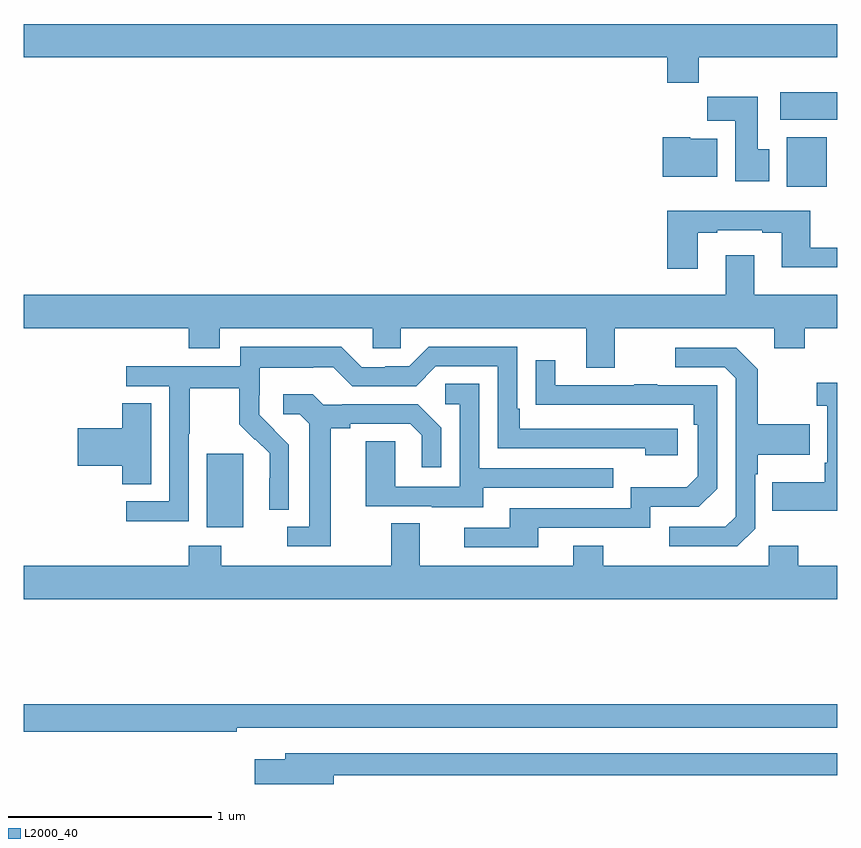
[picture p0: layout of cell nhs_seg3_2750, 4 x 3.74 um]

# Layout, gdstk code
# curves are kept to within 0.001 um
import gdstk
lib = gdstk.Library(unit=1e-6, precision=1e-09)
def R(c, l, rs):  # rectangles x0, y0, x1, y1
    for r in rs: c.add(gdstk.rectangle(r[:2], r[2:], *l))
def P(c, l, *ps):  # polygons
    for p in ps: c.add(gdstk.Polygon(p, *l))
L2000_40 = (2000, 40)

nhs_seg3_2750 = lib.new_cell('nhs_seg3_2750')
R(nhs_seg3_2750, L2000_40, [(253.901,715.922,254.08,716.283), (256.751,717.596,256.948,717.838), (256.719,717.926,257,718.06)])
P(nhs_seg3_2750, L2000_40, [(256.319,718.232),(257,718.232),(257,718.396),(253,718.396),(253,718.232),(256.163,718.232),(256.163,718.108),(256.319,718.108)],
  [(256.666,717.78),(256.609,717.78),(256.609,718.039),(256.36,718.039),(256.36,717.92),(256.499,717.92),(256.499,717.624),(256.666,717.624)],
  [(256.411,717.832),(256.278,717.832),(256.278,717.838),(256.142,717.838),(256.142,717.644),(256.411,717.644)],
  [(256.315,717.369),(256.411,717.369),(256.411,717.381),(256.631,717.381),(256.631,717.369),(256.727,717.369),(256.727,717.2),(257,717.2),(257,717.297),(256.867,717.297),(256.867,717.478),(256.163,717.478),(256.163,717.192),(256.315,717.192)],
  [(255.907,716.9),(256.691,716.9),(256.691,716.801),(256.839,716.801),(256.839,716.9),(257,716.9),(257,717.064),(256.591,717.064),(256.591,717.259),(256.451,717.259),(256.451,717.064),(253,717.064),(253,716.9),(253.811,716.9),(253.811,716.801),(253.963,716.801),(253.963,716.9),(254.715,716.9),(254.715,716.802),(254.853,716.802),(254.853,716.9),(255.767,716.9),(255.767,716.706),(255.907,716.706)],
  [(253.812,716.38),(253.815,716.38),(253.815,716.604),(254.059,716.604),(254.059,716.429),(254.136,716.352),(254.139,716.355),(254.21,716.285),(254.21,716.162),(254.208,716.162),(254.208,716.008),(254.304,716.008),(254.304,716.326),(254.158,716.474),(254.158,716.571),(254.16,716.571),(254.16,716.705),(254.423,716.705),(254.423,716.709),(254.523,716.709),(254.616,716.616),(254.931,716.616),(255.027,716.712),(255.33,716.712),(255.33,716.31),(256.055,716.31),(256.055,716.276),(256.216,716.276),(256.216,716.406),(255.439,716.406),(255.439,716.503),(255.426,716.503),(255.426,716.808),(254.991,716.808),(254.895,716.712),(254.777,716.712),(254.777,716.709),(254.661,716.709),(254.561,716.809),(254.064,716.809),(254.064,716.712),(253.503,716.712),(253.503,716.616),(253.716,716.616),(253.716,716.049),(253.503,716.049),(253.503,715.951),(253.812,715.951)],
  [(256.596,715.914),(256.596,716.183),(256.609,716.183),(256.609,716.279),(256.865,716.279),(256.865,716.427),(256.609,716.427),(256.609,716.699),(256.503,716.805),(256.203,716.805),(256.203,716.709),(256.446,716.709),(256.5,716.655),(256.5,715.974),(256.449,715.923),(256.173,715.923),(256.173,715.827),(256.509,715.827)],
  [(255.529,715.92),(256.08,715.92),(256.08,716.022),(256.32,716.022),(256.41,716.112),(256.41,716.619),(256.115,716.619),(256.115,716.624),(256.003,716.624),(256.003,716.619),(255.613,716.619),(255.613,716.743),(255.517,716.743),(255.517,716.524),(256.294,716.523),(256.294,716.426),(256.314,716.426),(256.314,716.172),(256.261,716.119),(255.984,716.119),(255.984,716.016),(255.389,716.016),(255.389,715.92),(255.165,715.92),(255.165,715.824),(255.529,715.824)],
  [(257,716.632),(256.899,716.632),(256.899,716.519),(256.95,716.519),(256.95,716.239),(256.938,716.239),(256.938,716.143),(256.681,716.143),(256.681,716.003),(257,716.003)],
  [(255.259,716.115),(255.899,716.115),(255.899,716.211),(255.24,716.211),(255.24,716.627),(255.072,716.627),(255.072,716.526),(255.144,716.526),(255.144,716.121),(254.826,716.121),(254.826,716.345),(254.681,716.345),(254.681,716.025),(255.005,716.025),(255.005,716.021),(255.259,716.021)],
  [(254.509,716.408),(254.605,716.408),(254.605,716.43),(254.9,716.43),(254.957,716.373),(254.957,716.217),(255.054,716.217),(255.054,716.41),(254.938,716.526),(254.566,716.526),(254.566,716.523),(254.472,716.523),(254.42,716.575),(254.277,716.575),(254.277,716.478),(254.358,716.478),(254.405,716.431),(254.405,715.923),(254.295,715.923),(254.295,715.827),(254.509,715.827)],
  [(253.627,716.531),(253.484,716.531),(253.484,716.408),(253.266,716.408),(253.266,716.225),(253.484,716.225),(253.484,716.134),(253.627,716.134)],
  [(257,715.732),(256.809,715.732),(256.809,715.831),(256.662,715.831),(256.662,715.732),(255.849,715.732),(255.849,715.831),(255.701,715.831),(255.701,715.732),(254.947,715.732),(254.947,715.94),(254.807,715.94),(254.807,715.732),(253.971,715.732),(253.971,715.831),(253.811,715.831),(253.811,715.732),(253,715.732),(253,715.568),(257,715.568)],
  [(254.048,714.936),(257,714.936),(257,715.052),(253,715.052),(253,714.916),(254.048,714.916)],
  [(254.524,714.702),(257,714.702),(257,714.81),(254.285,714.81),(254.285,714.781),(254.136,714.781),(254.136,714.659),(254.524,714.659)])

lib.write_gds('nhs_seg3_2750.gds')
